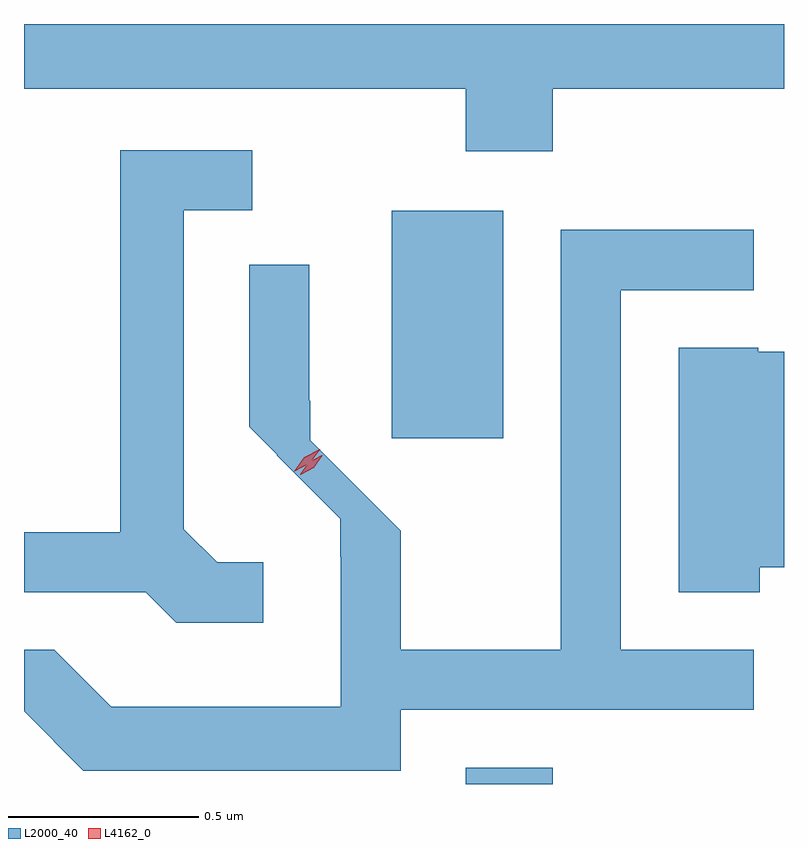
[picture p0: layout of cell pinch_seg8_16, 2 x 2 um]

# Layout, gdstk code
import gdstk
lib = gdstk.Library(unit=1e-6, precision=1e-09)
def R(c, l, rs):  # rectangles x0, y0, x1, y1
    for r in rs: c.add(gdstk.rectangle(r[:2], r[2:], *l))
def P(c, l, *ps):  # polygons
    for p in ps: c.add(gdstk.Polygon(p, *l))
L2000_40 = (2000, 40)
L4162_0 = (4162, 0)

pinch_seg8_16 = lib.new_cell('pinch_seg8_16')
R(pinch_seg8_16, L2000_40, [(1800.171,1839.026,1800.399,1839.069), (1799.976,1839.936,1800.269,1840.534)])
P(pinch_seg8_16, L2000_40, [(1800.399,1840.856),(1801.008,1840.856),(1801.008,1841.026),(1799.008,1841.026),(1799.008,1840.856),(1800.171,1840.856),(1800.171,1840.691),(1800.399,1840.691)],
  [(1799.638,1839.609),(1799.517,1839.609),(1799.429,1839.697),(1799.429,1840.536),(1799.608,1840.536),(1799.608,1840.694),(1799.261,1840.694),(1799.261,1839.689),(1799.008,1839.689),(1799.008,1839.531),(1799.329,1839.531),(1799.409,1839.451),(1799.638,1839.451)],
  [(1799.999,1839.221),(1800.928,1839.221),(1800.928,1839.379),(1800.579,1839.379),(1800.579,1840.326),(1800.928,1840.326),(1800.928,1840.484),(1800.421,1840.484),(1800.421,1839.379),(1799.999,1839.379),(1799.999,1839.693),(1799.761,1839.931),(1799.761,1840.035),(1799.759,1840.035),(1799.759,1840.393),(1799.601,1840.393),(1799.601,1839.966),(1799.675,1839.892),(1799.673,1839.891),(1799.84,1839.724),(1799.84,1839.624),(1799.841,1839.624),(1799.841,1839.229),(1799.237,1839.229),(1799.087,1839.379),(1799.008,1839.379),(1799.008,1839.217),(1799.164,1839.061),(1799.999,1839.061)],
  [(1800.944,1839.596),(1801.008,1839.596),(1801.008,1840.164),(1800.94,1840.164),(1800.94,1840.174),(1800.731,1840.174),(1800.731,1839.531),(1800.944,1839.531)])
P(pinch_seg8_16, L4162_0, [(1799.719,1839.849),(1799.719,1839.849),(1799.746,1839.886),(1799.786,1839.907),(1799.787,1839.907),(1799.787,1839.907),(1799.76,1839.87),(1799.72,1839.849)],
  [(1799.735,1839.84),(1799.735,1839.841),(1799.757,1839.873),(1799.792,1839.891),(1799.793,1839.891),(1799.793,1839.89),(1799.77,1839.858),(1799.736,1839.84)])

lib.write_gds('pinch_seg8_16.gds')
